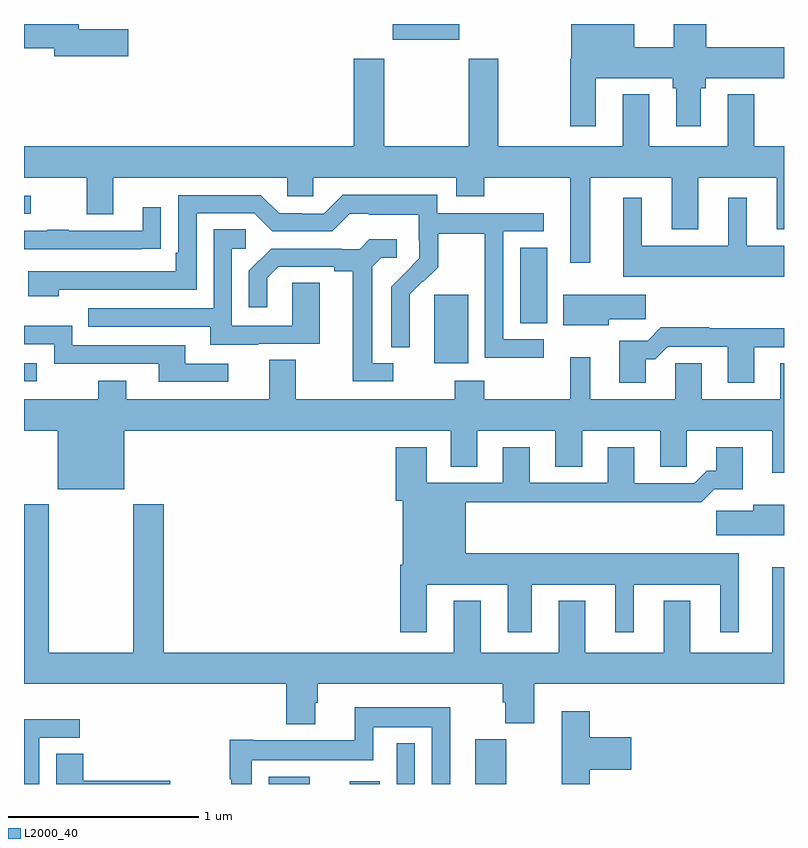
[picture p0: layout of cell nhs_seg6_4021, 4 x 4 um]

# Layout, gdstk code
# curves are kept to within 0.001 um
import gdstk
lib = gdstk.Library(unit=1e-6, precision=1e-09)
def R(c, l, rs):  # rectangles x0, y0, x1, y1
    for r in rs: c.add(gdstk.rectangle(r[:2], r[2:], *l))
def P(c, l, *ps):  # polygons
    for p in ps: c.add(gdstk.Polygon(p, *l))
L2000_40 = (2000, 40)

nhs_seg6_4021 = lib.new_cell('nhs_seg6_4021')
R(nhs_seg6_4021, L2000_40, [(350.288,921.5,350.503,921.538), (350.714,921.5,350.872,921.514), (350.961,921.5,351.057,921.715), (351.374,921.5,351.538,921.735), (349,923.619,349.066,923.715), (351.158,923.714,351.337,924.075), (351.611,923.926,351.754,924.323), (349,924.501,349.036,924.597), (350.942,925.418,351.292,925.5)])
P(nhs_seg6_4021, L2000_40, [(352.009,925.214),(352.414,925.214),(352.414,925.161),(352.433,925.161),(352.433,924.963),(352.561,924.963),(352.561,925.161),(352.587,925.161),(352.587,925.214),(353,925.214),(353,925.378),(352.592,925.378),(352.592,925.5),(352.421,925.5),(352.421,925.378),(352.213,925.378),(352.213,925.5),(351.881,925.5),(351.881,925.318),(351.874,925.318),(351.874,924.963),(352.009,924.963)],
  [(349.549,925.472),(349.288,925.472),(349.288,925.5),(349,925.5),(349,925.372),(349.16,925.372),(349.16,925.33),(349.549,925.33)],
  [(351.979,924.692),(352.409,924.692),(352.409,924.419),(352.549,924.419),(352.549,924.692),(352.961,924.692),(352.961,924.419),(353,924.419),(353,924.856),(352.843,924.856),(352.843,925.129),(352.703,925.129),(352.703,924.856),(352.291,924.856),(352.291,925.129),(352.151,925.129),(352.151,924.856),(351.495,924.856),(351.495,925.318),(351.34,925.318),(351.34,924.856),(350.895,924.856),(350.895,925.318),(350.735,925.318),(350.735,924.856),(349,924.856),(349,924.692),(349.331,924.692),(349.331,924.498),(349.471,924.498),(349.471,924.692),(350.385,924.692),(350.385,924.594),(350.523,924.594),(350.523,924.692),(351.275,924.692),(351.275,924.593),(351.423,924.593),(351.423,924.692),(351.875,924.692),(351.875,924.243),(351.979,924.243)],
  [(351.736,923.841),(351.522,923.841),(351.522,924.408),(351.736,924.408),(351.736,924.504),(351.174,924.504),(351.174,924.601),(350.677,924.601),(350.577,924.501),(350.462,924.501),(350.462,924.504),(350.343,924.504),(350.247,924.6),(349.812,924.6),(349.812,924.295),(349.799,924.295),(349.799,924.198),(349.023,924.198),(349.023,924.068),(349.184,924.068),(349.184,924.102),(349.908,924.102),(349.908,924.504),(350.211,924.504),(350.307,924.408),(350.622,924.408),(350.715,924.501),(350.815,924.501),(350.815,924.497),(351.078,924.497),(351.078,924.363),(351.08,924.363),(351.08,924.266),(350.934,924.118),(350.934,923.8),(351.03,923.8),(351.029,924.077),(351.099,924.147),(351.102,924.144),(351.179,924.221),(351.179,924.396),(351.424,924.396),(351.424,924.172),(351.426,924.172),(351.426,923.743),(351.736,923.743)],
  [(353,924.334),(352.804,924.334),(352.804,924.586),(352.706,924.586),(352.706,924.334),(352.252,924.334),(352.252,924.586),(352.154,924.586),(352.154,924.17),(353,924.17)],
  [(349.619,924.316),(349.721,924.316),(349.721,924.535),(349.625,924.535),(349.625,924.411),(349.235,924.411),(349.235,924.416),(349.123,924.416),(349.123,924.411),(349,924.411),(349,924.315),(349.619,924.315)],
  [(350.233,923.817),(350.557,923.817),(350.557,924.137),(350.412,924.137),(350.412,923.913),(350.094,923.913),(350.094,924.318),(350.167,924.318),(350.167,924.419),(349.998,924.419),(349.998,924.003),(349.339,924.003),(349.339,923.907),(349.979,923.907),(349.979,923.813),(350.233,923.813)],
  [(350.944,923.715),(350.833,923.715),(350.833,924.223),(350.88,924.27),(350.962,924.27),(350.962,924.367),(350.818,924.367),(350.766,924.315),(350.672,924.315),(350.672,924.318),(350.3,924.318),(350.184,924.202),(350.184,924.009),(350.281,924.009),(350.281,924.165),(350.338,924.222),(350.633,924.222),(350.633,924.2),(350.729,924.2),(350.729,923.619),(350.944,923.619)],
  [(352.078,923.947),(352.273,923.947),(352.273,924.076),(351.839,924.076),(351.839,923.915),(352.078,923.915)],
  [(350.074,923.712),(349.849,923.712),(349.849,923.808),(349.254,923.808),(349.254,923.911),(349,923.911),(349,923.814),(349.158,923.814),(349.158,923.712),(349.709,923.712),(349.709,923.616),(350.074,923.616)],
  [(352.273,923.735),(352.322,923.735),(352.389,923.802),(352.703,923.802),(352.703,923.613),(352.843,923.613),(352.843,923.799),(353,923.799),(353,923.9),(352.607,923.9),(352.607,923.903),(352.352,923.903),(352.282,923.833),(352.133,923.833),(352.133,923.613),(352.273,923.613)],
  [(349.528,923.36),(351.245,923.36),(351.245,923.17),(351.385,923.17),(351.385,923.36),(351.797,923.36),(351.797,923.17),(351.937,923.17),(351.937,923.36),(352.349,923.36),(352.349,923.17),(352.488,923.17),(352.488,923.36),(352.937,923.36),(352.937,923.139),(353,923.139),(353,923.714),(352.979,923.714),(352.979,923.524),(352.567,923.524),(352.567,923.714),(352.428,923.714),(352.428,923.524),(351.979,923.524),(351.979,923.746),(351.875,923.746),(351.875,923.524),(351.423,923.524),(351.423,923.623),(351.268,923.623),(351.268,923.524),(350.431,923.524),(350.431,923.732),(350.291,923.732),(350.291,923.524),(349.537,923.524),(349.537,923.623),(349.39,923.623),(349.39,923.524),(349,923.524),(349,923.36),(349.178,923.36),(349.178,923.051),(349.528,923.051)],
  [(351.121,922.55),(351.545,922.55),(351.545,922.299),(351.673,922.299),(351.673,922.55),(352.112,922.55),(352.112,922.299),(352.21,922.299),(352.21,922.55),(352.664,922.55),(352.664,922.299),(352.762,922.299),(352.762,922.714),(351.325,922.714),(351.325,922.984),(352.309,922.984),(352.309,922.982),(352.565,922.982),(352.634,923.051),(352.783,923.051),(352.783,923.272),(352.643,923.272),(352.643,923.149),(352.594,923.149),(352.527,923.082),(352.213,923.082),(352.213,923.272),(352.073,923.272),(352.073,923.085),(351.661,923.085),(351.661,923.272),(351.521,923.272),(351.521,923.085),(351.121,923.085),(351.121,923.272),(350.957,923.272),(350.957,922.992),(350.993,922.992),(350.993,922.654),(350.981,922.654),(350.981,922.299),(351.121,922.299)],
  [(350.533,921.927),(350.546,921.927),(350.546,922.028),(351.521,922.028),(351.521,921.929),(351.533,921.929),(351.533,921.82),(351.686,921.82),(351.686,922.028),(353,922.028),(353,922.642),(352.937,922.642),(352.937,922.192),(352.507,922.192),(352.507,922.465),(352.367,922.465),(352.367,922.192),(351.955,922.192),(351.955,922.465),(351.815,922.465),(351.815,922.192),(351.403,922.192),(351.403,922.465),(351.263,922.465),(351.263,922.192),(349.736,922.192),(349.736,922.972),(349.576,922.972),(349.576,922.192),(349.131,922.192),(349.131,922.972),(349,922.972),(349,922.028),(350.381,922.028),(350.381,921.815),(350.533,921.815)],
  [(353,922.969),(352.838,922.969),(352.838,922.937),(352.644,922.937),(352.644,922.808),(353,922.808)],
  [(350.199,921.626),(350.838,921.626),(350.838,921.8),(351.147,921.8),(351.147,921.5),(351.244,921.5),(351.244,921.904),(350.741,921.904),(350.741,921.73),(350.206,921.73),(350.206,921.733),(350.083,921.733),(350.083,921.526),(350.091,921.526),(350.091,921.5),(350.199,921.5)],
  [(351.977,921.575),(352.195,921.575),(352.195,921.745),(351.977,921.745),(351.977,921.883),(351.83,921.883),(351.83,921.591),(351.831,921.591),(351.831,921.5),(351.977,921.5)],
  [(349.08,921.744),(349.294,921.744),(349.294,921.84),(349,921.84),(349,921.5),(349.08,921.5)],
  [(349.771,921.518),(349.313,921.518),(349.313,921.659),(349.169,921.659),(349.169,921.5),(349.771,921.5)])

lib.write_gds('nhs_seg6_4021.gds')
